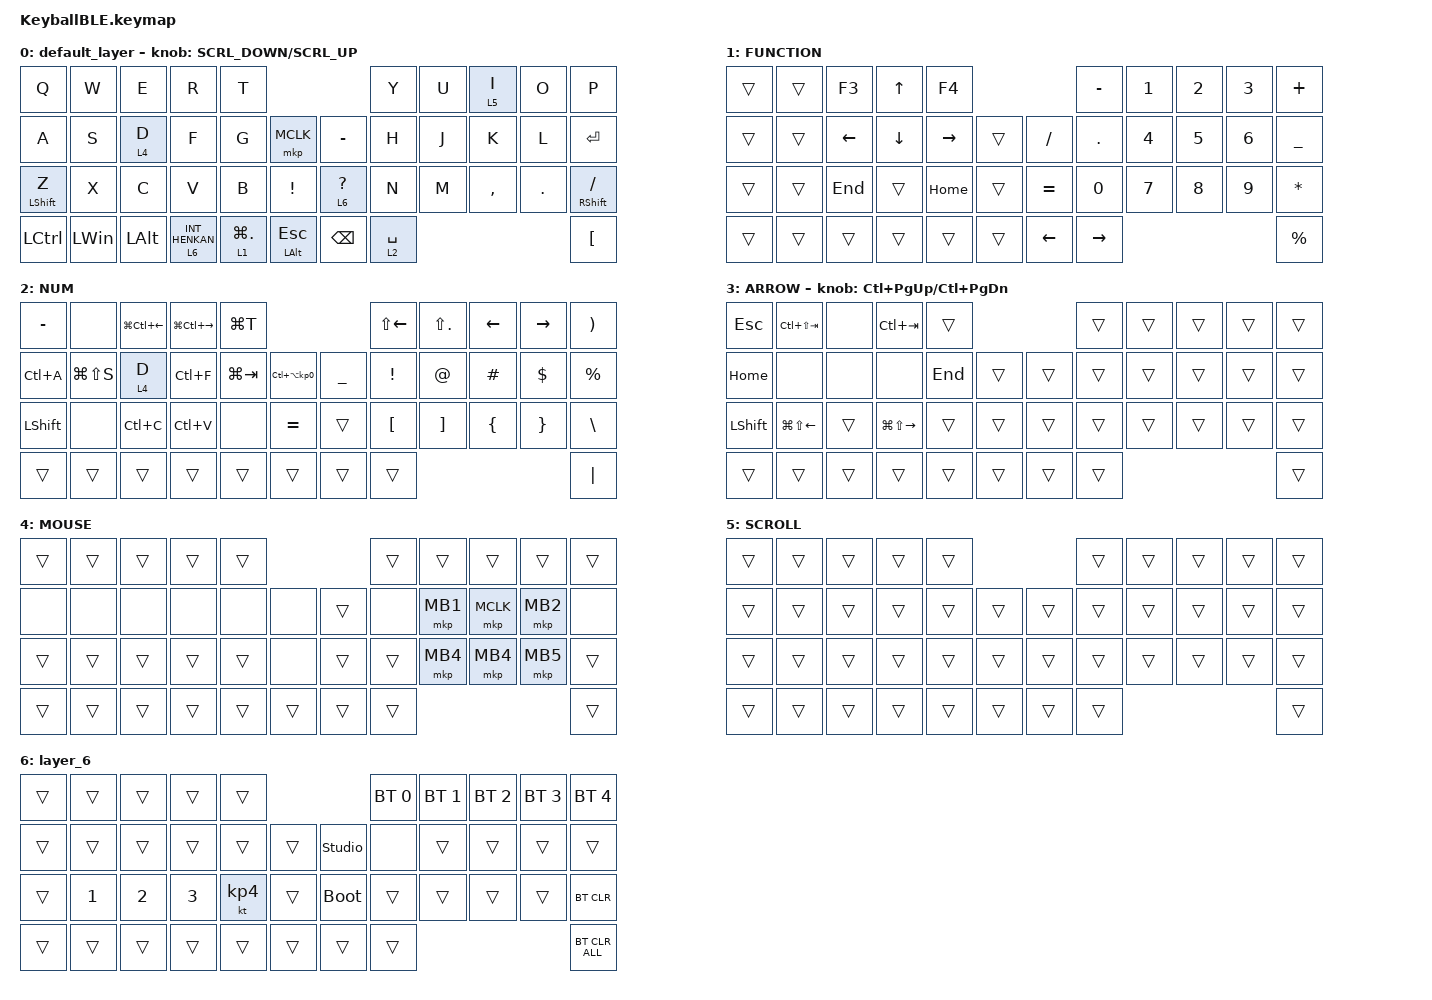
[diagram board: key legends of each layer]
#define ZMK_POINTING_DEFAULT_SCRL_VAL 120    // default: 10

#include <behaviors.dtsi>
#include <dt-bindings/zmk/bt.h>
#include <dt-bindings/zmk/keys.h>
#include <dt-bindings/zmk/pointing.h>

#define MOUSE 4
#define SCROLL 5
#define NUM 6

&mt {
    flavor = "balanced";
    quick-tap-ms = <0>;
};

/ {
    combos {
        compatible = "zmk,combos";

        double_quotation {
            bindings = <&kp DOUBLE_QUOTES>;
            key-positions = <20 21>;
        };

        tab {
            bindings = <&kp TAB>;
            key-positions = <13 12>;
        };

        Shift_tab {
            bindings = <&kp RS(TAB)>;
            key-positions = <12 11>;
        };

        scroll {
            bindings = <&lt 5 NUMBER_5>;
            key-positions = <19 20>;
        };

        chrome_tab {
            bindings = <&kp LC(TAB)>;
            key-positions = <3 2>;
        };

        browsertab1 {
            bindings = <&kp LC(LS(TAB))>;
            key-positions = <2 1>;
        };

        chrometabESC {
            bindings = <&kp LC(W)>;
            key-positions = <4 3>;
        };

        task {
            bindings = <&kp RC(RA(DELETE))>;
            key-positions = <30 31 32>;
        };

        LINEenter {
            bindings = <&kp RA(ENTER)>;
            key-positions = <18 19>;
        };

        Word {
            bindings = <&kp RS(F9)>;
            key-positions = <18 19 20>;
        };
    };

    macros {
        to_layer_0: to_layer_0 {
            compatible = "zmk,behavior-macro-one-param";
            #binding-cells = <1>;
            bindings = <&to 0 &macro_param_1to1 &kp MACRO_PLACEHOLDER>;
            label = "TO_LAYER_0";
        };
    };

    behaviors {
        lt_to_layer_0: lt_to_layer_0 {
            compatible = "zmk,behavior-hold-tap";
            label = "LAYER_TAP_TO_0";
            bindings = <&mo>, <&to_layer_0>;

            #binding-cells = <2>;
            tapping-term-ms = <200>;
        };

        ROTATE: ROTATE {
            compatible = "zmk,behavior-sensor-rotate-var";
            label = "ROTATE";
            #sensor-binding-cells = <2>;
            bindings = <&msc>, <&msc>;

            tap-ms = <20>;
        };
    };

    keymap {
        compatible = "zmk,keymap";

        default_layer {
            bindings = <
&kp Q             &kp W         &kp E         &kp R                        &kp T                                                  &kp Y        &kp U  &lt 5 I    &kp O    &kp P
&kp A             &kp S         &lt 4 D       &kp F                        &kp G             &mkp MCLK            &kp MINUS       &kp H        &kp J  &kp K      &kp L    &kp ENTER
&mt LEFT_SHIFT Z  &kp X         &kp C         &kp V                        &kp B             &kp EXCLAMATION      &lt 6 QUESTION  &kp N        &kp M  &kp COMMA  &kp DOT  &mt RIGHT_SHIFT SLASH
&kp LCTRL         &kp LEFT_WIN  &kp LEFT_ALT  &lt_to_layer_0 6 INT_HENKAN  &lt 1 LG(PERIOD)  &mt LALT ESC         &kp BACKSPACE   &lt 2 SPACE                             &kp LEFT_BRACKET
            >;

            sensor-bindings = <&ROTATE SCRL_DOWN SCRL_UP>;
        };

        FUNCTION {
            bindings = <
&trans  &trans  &kp F3    &kp UP_ARROW  &kp F4                            &kp MINUS     &kp NUMBER_1  &kp NUMBER_2  &kp NUMBER_3  &kp PLUS
&trans  &trans  &kp LEFT  &kp DOWN      &kp RIGHT  &trans      &kp SLASH  &kp PERIOD    &kp NUMBER_4  &kp NUMBER_5  &kp NUMBER_6  &kp UNDERSCORE
&trans  &trans  &kp END   &trans        &kp HOME   &trans      &kp EQUAL  &kp NUMBER_0  &kp NUMBER_7  &kp NUMBER_8  &kp NUMBER_9  &kp ASTERISK
&trans  &trans  &trans    &trans        &trans     &trans      &kp LEFT   &kp RIGHT                                               &kp PERCENT
            >;
        };

        NUM {
            bindings = <
&kp MINUS       &none          &kp LG(LC(LEFT))  &kp LG(LC(RIGHT))  &kp LG(T)                                                 &kp LS(LEFT)      &kp LS(PERIOD)     &kp LEFT        &kp RIGHT        &kp RIGHT_PARENTHESIS
&kp LC(A)       &kp LG(LS(S))  &lt 4 D           &kp LC(F)          &kp LG(TAB)  &kp LC(LA(KP_NUMBER_0))      &kp UNDERSCORE  &kp EXCLAMATION   &kp AT_SIGN        &kp HASH        &kp DOLLAR       &kp PERCENT
&kp LEFT_SHIFT  &none          &kp LC(C)         &kp LC(V)          &none        &kp EQUAL                    &trans          &kp LEFT_BRACKET  &kp RIGHT_BRACKET  &kp LEFT_BRACE  &kp RIGHT_BRACE  &kp BACKSLASH
&trans          &trans         &trans            &trans             &trans       &trans                       &trans          &trans                                                                &kp PIPE
            >;
        };

        ARROW {
            bindings = <
&kp ESCAPE      &kp LC(LS(TAB))         &none   &kp LC(TAB)              &trans                       &trans  &trans  &trans  &trans  &trans
&kp HOME        &none                   &none   &none                    &kp END  &trans      &trans  &trans  &trans  &trans  &trans  &trans
&kp LEFT_SHIFT  &kp LG(LS(LEFT_ARROW))  &trans  &kp LG(LS(RIGHT_ARROW))  &trans   &trans      &trans  &trans  &trans  &trans  &trans  &trans
&trans          &trans                  &trans  &trans                   &trans   &trans      &trans  &trans                          &trans
            >;

            sensor-bindings = <&inc_dec_kp LC(PAGE_UP) LC(PAGE_DOWN)>;
        };

        MOUSE {
            bindings = <
&trans  &trans  &trans  &trans  &trans                      &trans  &trans    &trans     &trans    &trans
&none   &none   &none   &none   &none   &none       &trans  &none   &mkp MB1  &mkp MCLK  &mkp MB2  &none
&trans  &trans  &trans  &trans  &trans  &none       &trans  &trans  &mkp MB4  &mkp MB4   &mkp MB5  &trans
&trans  &trans  &trans  &trans  &trans  &trans      &trans  &trans                                 &trans
            >;
        };

        SCROLL {
            bindings = <
&trans  &trans  &trans  &trans  &trans                      &trans  &trans  &trans  &trans  &trans
&trans  &trans  &trans  &trans  &trans  &trans      &trans  &trans  &trans  &trans  &trans  &trans
&trans  &trans  &trans  &trans  &trans  &trans      &trans  &trans  &trans  &trans  &trans  &trans
&trans  &trans  &trans  &trans  &trans  &trans      &trans  &trans                          &trans
            >;
        };

        layer_6 {
            bindings = <
&trans  &trans        &trans        &trans        &trans                                 &bt BT_SEL 0  &bt BT_SEL 1  &bt BT_SEL 2  &bt BT_SEL 3  &bt BT_SEL 4
&trans  &trans        &trans        &trans        &trans     &trans      &studio_unlock  &none         &trans        &trans        &trans        &trans
&trans  &kp NUMBER_1  &kp NUMBER_2  &kp NUMBER_3  &kt KP_N4  &trans      &bootloader     &trans        &trans        &trans        &trans        &bt BT_CLR
&trans  &trans        &trans        &trans        &trans     &trans      &trans          &trans                                                  &bt BT_CLR_ALL
            >;
        };
    };
};
